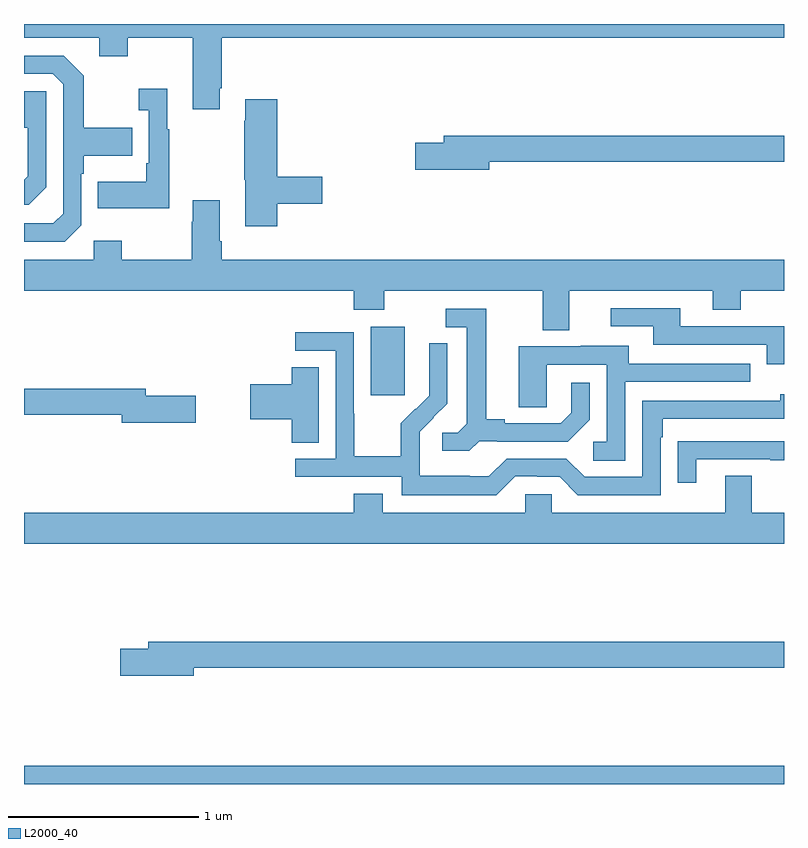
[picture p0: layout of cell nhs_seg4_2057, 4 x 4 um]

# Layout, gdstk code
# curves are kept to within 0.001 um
import gdstk
lib = gdstk.Library(unit=1e-6, precision=1e-09)
def R(c, l, rs):  # rectangles x0, y0, x1, y1
    for r in rs: c.add(gdstk.rectangle(r[:2], r[2:], *l))
def P(c, l, *ps):  # polygons
    for p in ps: c.add(gdstk.Polygon(p, *l))
L2000_40 = (2000, 40)

nhs_seg4_2057 = lib.new_cell('nhs_seg4_2057')
R(nhs_seg4_2057, L2000_40, [(217,784.9,221,784.996), (218.825,786.945,219.004,787.306)])
P(nhs_seg4_2057, L2000_40, [(218.029,788.563),(218.042,788.563),(218.042,788.828),(221,788.828),(221,788.9),(217,788.9),(217,788.828),(217.397,788.828),(217.397,788.729),(217.545,788.729),(217.545,788.828),(217.889,788.828),(217.889,788.451),(218.029,788.451)],
  [(217.302,787.842),(217.302,788.111),(217.315,788.111),(217.315,788.207),(217.571,788.207),(217.571,788.355),(217.315,788.355),(217.315,788.627),(217.209,788.733),(217,788.733),(217,788.637),(217.152,788.637),(217.206,788.583),(217.206,787.902),(217.155,787.851),(217,787.851),(217,787.755),(217.215,787.755)],
  [(217.765,788.347),(217.753,788.347),(217.753,788.56),(217.605,788.56),(217.605,788.447),(217.656,788.447),(217.656,788.167),(217.644,788.167),(217.644,788.071),(217.387,788.071),(217.387,787.931),(217.765,787.931)],
  [(217.116,788.04),(217.116,788.547),(217,788.547),(217,788.354),(217.02,788.354),(217.02,788.1),(217,788.08),(217,787.95),(217.026,787.95)],
  [(218.333,787.954),(218.569,787.954),(218.569,788.096),(218.333,788.096),(218.333,788.503),(218.165,788.503),(218.165,788.39),(218.158,788.39),(218.158,788.079),(218.165,788.079),(218.165,787.836),(218.333,787.836)],
  [(219.448,788.176),(221,788.176),(221,788.312),(219.209,788.312),(219.209,788.276),(219.06,788.276),(219.06,788.134),(219.448,788.134)],
  [(219.871,787.496),(220.625,787.496),(220.625,787.397),(220.773,787.397),(220.773,787.496),(221,787.496),(221,787.66),(218.042,787.66),(218.042,787.756),(218.029,787.756),(218.029,787.972),(217.889,787.972),(217.889,787.859),(217.882,787.859),(217.882,787.66),(217.515,787.66),(217.515,787.759),(217.368,787.759),(217.368,787.66),(217,787.66),(217,787.496),(218.735,787.496),(218.735,787.397),(218.895,787.397),(218.895,787.496),(219.731,787.496),(219.731,787.288),(219.871,787.288)],
  [(221,787.308),(220.453,787.308),(220.453,787.404),(220.089,787.404),(220.089,787.308),(220.313,787.308),(220.313,787.212),(220.908,787.212),(220.908,787.109),(221,787.109)],
  [(219.396,786.705),(219.49,786.705),(219.49,786.702),(219.862,786.702),(219.978,786.818),(219.978,787.012),(219.881,787.012),(219.881,786.855),(219.824,786.798),(219.529,786.798),(219.529,786.821),(219.433,786.821),(219.433,787.401),(219.219,787.401),(219.219,787.305),(219.329,787.305),(219.329,786.797),(219.282,786.75),(219.201,786.75),(219.201,786.653),(219.344,786.653)],
  [(219.585,786.519),(219.701,786.519),(219.701,786.516),(219.819,786.516),(219.915,786.42),(220.35,786.42),(220.35,786.725),(220.363,786.725),(220.363,786.822),(221,786.822),(221,786.952),(220.979,786.952),(220.979,786.918),(220.254,786.918),(220.254,786.516),(219.951,786.516),(219.855,786.612),(219.54,786.612),(219.447,786.519),(219.347,786.519),(219.347,786.523),(219.084,786.523),(219.084,786.657),(219.082,786.657),(219.082,786.754),(219.228,786.902),(219.228,787.22),(219.132,787.22),(219.132,787.066),(219.134,787.066),(219.134,786.944),(219.063,786.873),(219.06,786.876),(218.983,786.799),(218.983,786.625),(218.739,786.625),(218.739,786.848),(218.736,786.848),(218.736,787.278),(218.427,787.278),(218.427,787.179),(218.64,787.179),(218.64,786.612),(218.427,786.612),(218.427,786.516),(218.988,786.516),(218.988,786.419),(219.485,786.419)],
  [(220.164,787.017),(220.823,787.017),(220.823,787.113),(220.183,787.113),(220.183,787.207),(219.929,787.207),(219.929,787.203),(219.605,787.203),(219.605,786.883),(219.75,786.883),(219.75,787.107),(220.068,787.107),(220.068,786.702),(219.996,786.702),(219.996,786.601),(220.164,786.601)],
  [(218.551,787.094),(218.408,787.094),(218.408,787.004),(218.19,787.004),(218.19,786.821),(218.408,786.821),(218.408,786.697),(218.551,786.697)],
  [(217.903,786.944),(217.642,786.944),(217.642,786.98),(217,786.98),(217,786.844),(217.514,786.844),(217.514,786.802),(217.903,786.802)],
  [(220.537,786.609),(220.927,786.609),(220.927,786.604),(221,786.604),(221,786.705),(220.543,786.705),(220.543,786.704),(220.441,786.704),(220.441,786.486),(220.537,786.486)],
  [(221,786.328),(220.831,786.328),(220.831,786.523),(220.691,786.523),(220.691,786.328),(219.777,786.328),(219.777,786.426),(219.639,786.426),(219.639,786.328),(218.887,786.328),(218.887,786.427),(218.735,786.427),(218.735,786.328),(217,786.328),(217,786.164),(221,786.164)],
  [(217.894,785.512),(221,785.512),(221,785.648),(217.655,785.648),(217.655,785.612),(217.506,785.612),(217.506,785.47),(217.894,785.47)])

lib.write_gds('nhs_seg4_2057.gds')
